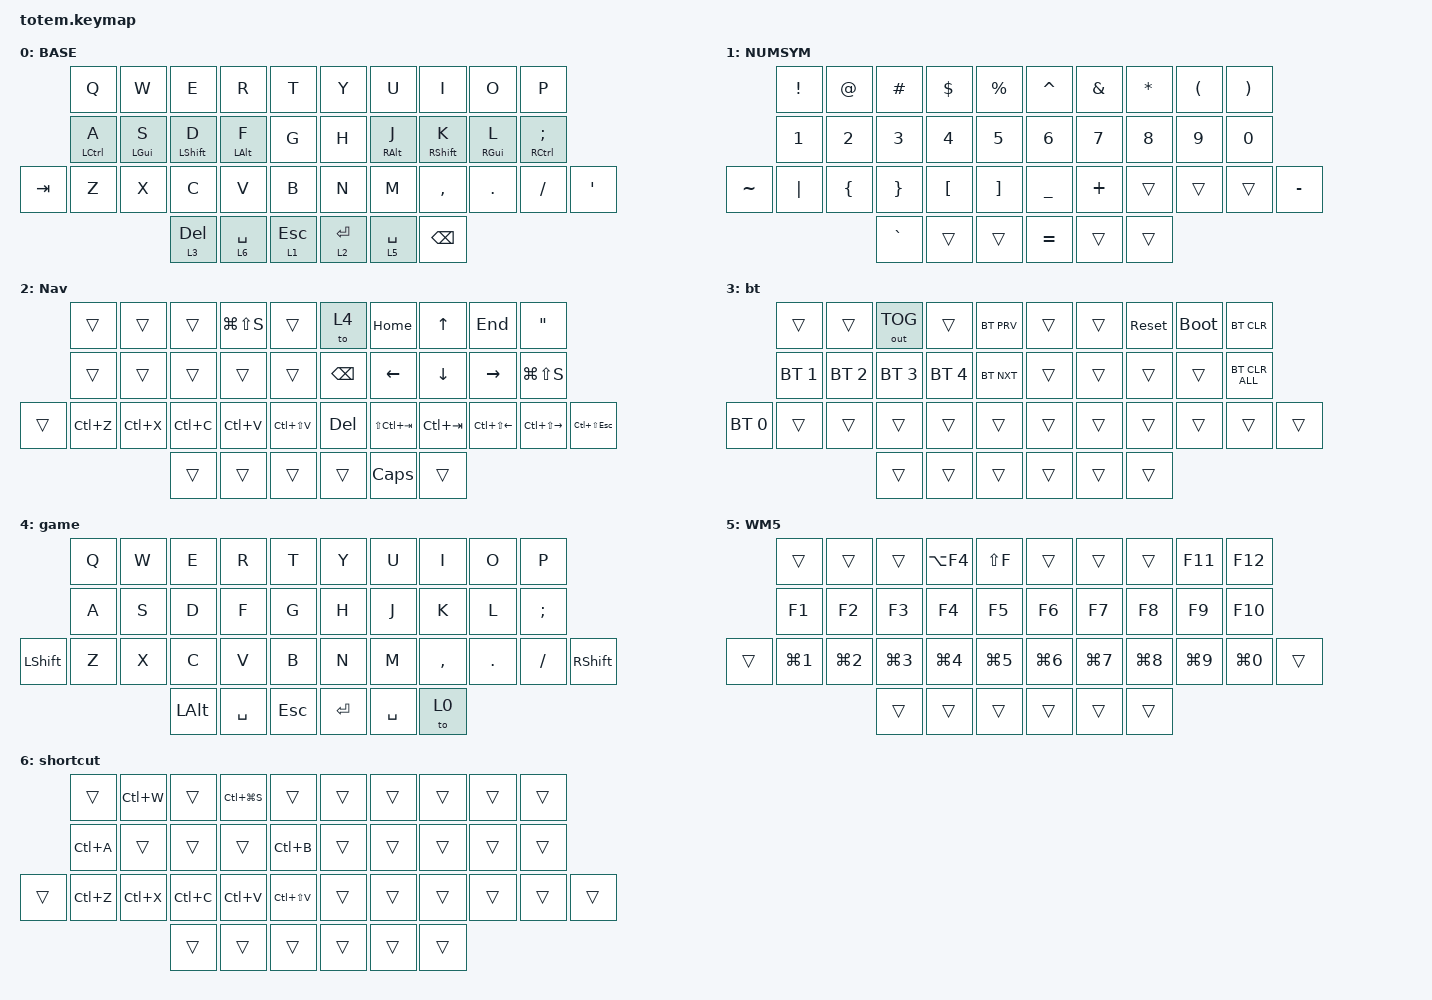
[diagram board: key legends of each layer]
//
//                                                        ▀▀▀▀▀     ▀▀▀▀▀          ▀▀█▀▀
//                                                        ▄▀▀▀▄  ▄  ▄▀▀▀▄  ▄  ▄▀▀▀▄  █  ▄▀▀▀▄
//                                                        █   █  █  █   █  █  █   █  █  █   █
//                                                         ▀▀▀   █   ▀▀▀   █   ▀▀▀   ▀   ▀▀▀
//                                                               █      ▄▄▄█▄▄▄    █   █  
//                                                               ▀      █  █  █     █▄█
//                                                             ▀▀▀▀▀    █  █  █      ▀
//                                                                      ▀  ▀  ▀
//
// ▄▄▄▄▄▄▄▄▄▄▄▄▄▄▄▄▄▄▄▄▄▄▄▄▄▄▄▄▄▄▄▄▄▄▄▄▄▄▄▄▄▄▄▄▄▄▄▄▄▄▄▄▄▄▄▄▄▄▄▄▄▄▄▄▄▄▄▄▄▄▄▄▄▄▄▄▄▄▄▄▄▄▄▄▄▄▄▄▄▄▄▄▄▄▄▄▄▄▄▄▄▄▄▄▄▄▄▄▄▄▄▄▄▄▄▄▄▄▄▄▄▄▄▄▄▄▄▄▄▄▄▄▄▄▄▄▄▄▄▄▄▄▄▄▄▄▄▄▄

#include <behaviors.dtsi>
#include <dt-bindings/zmk/bt.h>
#include <dt-bindings/zmk/keys.h>
#include <dt-bindings/zmk/outputs.h>

#define BASE 0
#define NAV  1
#define SYM  2
#define ADJ  3
#define TVP1 4
#define TVP2 5

&mt {
    quick-tap-ms = <100>;
    global-quick-tap;
    flavor = "tap-preferred";
    tapping-term-ms = <170>;
};

/ {
    combos {
        compatible = "zmk,combos";

        combo_esc {
            timeout-ms = <50>;
            key-positions = <0 1>;
            bindings = <&kp ESC>;
        };

        combo_tvp {
            timeout-ms = <100>;
            key-positions = <11 12 13>;
            bindings = <&kp CAPSLOCK>;
        };

        Backspace {
            bindings = <&kp BACKSPACE>;
            key-positions = <23 24>;
        };
    };

    macros {
        gif: gif {
            label = "giphy";
            compatible = "zmk,behavior-macro";
            #binding-cells = <0>;
            bindings =
                <&macro_press>,
                <&kp LSHFT>,
                <&macro_tap>,
                <&kp N2>,
                <&macro_release>,
                <&kp LSHFT>,
                <&macro_tap>,
                <&kp G &kp I &kp F>;
        };
    };

    behaviors {
        HML: HML {
            compatible = "zmk,behavior-hold-tap";
            label = "HML";
            bindings = <&kp>, <&kp>;

            #binding-cells = <2>;
            tapping-term-ms = <280>;
            quick-tap-ms = <175>;
            flavor = "tap-preferred";
            hold-trigger-key-positions = <32 34 33 35 36 37 26 27 28 29 30 5 6 7 8 9 15 16 17 18 19 26 27 28 29 30 31 36 37>;
            hold-trigger-on-release;
        };

        HMR: HMR {
            compatible = "zmk,behavior-hold-tap";
            label = "HMR";
            bindings = <&kp>, <&kp>;

            #binding-cells = <2>;
            tapping-term-ms = <280>;
            quick-tap-ms = <175>;
            flavor = "tap-preferred";
            hold-trigger-key-positions = <24 0 1 2 3 4 10 11 12 13 14 20 21 22 23 24 25 32 33 34 35 36 37>;
            hold-trigger-on-release;
        };
    };

    keymap {
        compatible = "zmk,keymap";

        // ▄▄▄▄▄▄▄▄▄▄▄▄▄▄▄▄▄▄▄▄▄▄▄▄▄▄▄▄▄▄▄▄▄▄▄▄▄▄▄▄▄▄▄▄▄▄▄▄▄▄▄▄▄▄▄▄▄▄▄▄▄▄▄▄▄▄▄▄▄▄▄▄▄▄▄▄▄▄▄▄▄▄▄▄▄▄▄▄▄▄▄▄▄▄▄▄▄▄▄▄▄▄▄▄▄▄▄▄▄▄▄▄▄▄▄▄▄▄▄▄▄▄▄▄▄▄▄▄▄▄▄▄▄▄▄▄▄▄▄▄▄▄▄▄▄▄▄▄▄

        base_layer {
            // ┏━━━━━━━━━━━━━━━━━━━━━━━━━━━━━━━━━━━━━━━┓

            label = "BASE";

            // ┗━━━━━━━━━━━━━━━━━━━━━━━━━━━━━━━━━━━━━━━┛
            //             ┏━━━━━━━━━━━┳━━━━━━━━━━━┳━━━━━━━━━━━┳━━━━━━━━━━━┳━━━━━━━━━━━┓   ┏━━━━━━━━━━━┳━━━━━━━━━━━┳━━━━━━━━━━━┳━━━━━━━━━━━┳━━━━━━━━━━━┓
            //             ┃     Q     ┃     W     ┃     F     ┃     P     ┃     G     ┃   ┃     J     ┃     L     ┃     U     ┃     Y     ┃     ;     ┃
            //             ┣━━━━━━━━━━━╋━━━━━━━━━━━╋━━━━━━━━━━━╋━━━━━━━━━━━╋━━━━━━━━━━━┫   ┣━━━━━━━━━━━╋━━━━━━━━━━━╋━━━━━━━━━━━╋━━━━━━━━━━━╋━━━━━━━━━━━┫
            //             ┃     A     ┃     R     ┃     S     ┃     T     ┃     D     ┃   ┃     H     ┃     N     ┃     E     ┃     I     ┃     O     ┃
            // ┏━━━━━━━━━━━╋━━━━━━━━━━━╋━━━━━━━━━━━╋━━━━━━━━━━━╋━━━━━━━━━━━╋━━━━━━━━━━━┫   ┣━━━━━━━━━━━╋━━━━━━━━━━━╋━━━━━━━━━━━╋━━━━━━━━━━━╋━━━━━━━━━━━╋━━━━━━━━━━━┓
            // ┃     Q     ┃     Z     ┃     X     ┃     C     ┃     V     ┃     B     ┃   ┃     K     ┃     M     ┃     ,     ┃     .     ┃     /     ┃     \     ┃
            // ┗━━━━━━━━━━━┻━━━━━━━━━━━┻━━━━━━━━━━━╋━━━━━━━━━━━╋━━━━━━━━━━━╋━━━━━━━━━━━┫   ┣━━━━━━━━━━━╋━━━━━━━━━━━╋━━━━━━━━━━━╋━━━━━━━━━━━┻━━━━━━━━━━━┻━━━━━━━━━━━┛
            //                                     ┃    DEL    ┃    TAB    ┃    SPC    ┃   ┃   ENTER   ┃           ┃   BSPC    ┃
            //                                     ┗━━━━━━━━━━━┻━━━━━━━━━━━┻━━━━━━━━━━━┛   ┗━━━━━━━━━━━┻━━━━━━━━━━━┻━━━━━━━━━━━┛

            bindings = <
         &kp Q                &kp W            &kp E              &kp R            &kp T           &kp Y        &kp U             &kp I               &kp O             &kp P
         &HML LEFT_CONTROL A  &HML LEFT_GUI S  &HML LEFT_SHIFT D  &HML LEFT_ALT F  &kp G           &kp H        &HMR RIGHT_ALT J  &HMR RIGHT_SHIFT K  &HMR RIGHT_GUI L  &HMR RIGHT_CONTROL SEMICOLON
&kp TAB  &kp Z                &kp X            &kp C              &kp V            &kp B           &kp N        &kp M             &kp COMMA           &kp DOT           &kp FSLH                      &kp SQT
                                               &lt 3 DELETE       &lt 6 SPACE      &lt 1 ESCAPE    &lt 2 ENTER  &lt 5 SPACE       &kp BSPC
            >;
        };

        // ▄▄▄▄▄▄▄▄▄▄▄▄▄▄▄▄▄▄▄▄▄▄▄▄▄▄▄▄▄▄▄▄▄▄▄▄▄▄▄▄▄▄▄▄▄▄▄▄▄▄▄▄▄▄▄▄▄▄▄▄▄▄▄▄▄▄▄▄▄▄▄▄▄▄▄▄▄▄▄▄▄▄▄▄▄▄▄▄▄▄▄▄▄▄▄▄▄▄▄▄▄▄▄▄▄▄▄▄▄▄▄▄▄▄▄▄▄▄▄▄▄▄▄▄▄▄▄▄▄▄▄▄▄▄▄▄▄▄▄▄▄▄▄▄▄▄▄▄▄

        NUMSYM {
            // ┏━━━━━━━━━━━━━━━━━━━━━━━━━━━━━━━━━━━━━━━┓

            label = "NUMSYM";

            // ┗━━━━━━━━━━━━━━━━━━━━━━━━━━━━━━━━━━━━━━━┛
            //             ┏━━━━━━━━━━━┳━━━━━━━━━━━┳━━━━━━━━━━━┳━━━━━━━━━━━┳━━━━━━━━━━━┓   ┏━━━━━━━━━━━┳━━━━━━━━━━━┳━━━━━━━━━━━┳━━━━━━━━━━━┳━━━━━━━━━━━┓
            //             ┃           ┃           ┃     UP    ┃           ┃     {     ┃   ┃     }     ┃     7     ┃     8     ┃     9     ┃     +     ┃
            //             ┣━━━━━━━━━━━╋━━━━━━━━━━━╋━━━━━━━━━━━╋━━━━━━━━━━━╋━━━━━━━━━━━┫   ┣━━━━━━━━━━━╋━━━━━━━━━━━╋━━━━━━━━━━━╋━━━━━━━━━━━╋━━━━━━━━━━━┫
            //             ┃   SHIFT   ┃   LEFT    ┃    DOWN   ┃   RIGHT   ┃     [     ┃   ┃     ]     ┃     4     ┃     5     ┃     6     ┃     -     ┃
            // ┏━━━━━━━━━━━╋━━━━━━━━━━━╋━━━━━━━━━━━╋━━━━━━━━━━━╋━━━━━━━━━━━╋━━━━━━━━━━━┫   ┣━━━━━━━━━━━╋━━━━━━━━━━━╋━━━━━━━━━━━╋━━━━━━━━━━━╋━━━━━━━━━━━╋━━━━━━━━━━━┓
            // ┃           ┃           ┃   P UP    ┃  C LOCK   ┃  P DOWN   ┃     (     ┃   ┃     )     ┃     1     ┃     2     ┃     3     ┃     *     ┃           ┃
            // ┗━━━━━━━━━━━┻━━━━━━━━━━━┻━━━━━━━━━━━╋━━━━━━━━━━━╋━━━━━━━━━━━╋━━━━━━━━━━━┫   ┣━━━━━━━━━━━╋━━━━━━━━━━━╋━━━━━━━━━━━╋━━━━━━━━━━━┻━━━━━━━━━━━┻━━━━━━━━━━━┛
            //                                     ┃           ┃    TAB    ┃    SPC    ┃   ┃    DEL    ┃     0     ┃           ┃
            //                                     ┗━━━━━━━━━━━┻━━━━━━━━━━━┻━━━━━━━━━━━┛   ┗━━━━━━━━━━━┻━━━━━━━━━━━┻━━━━━━━━━━━┛

            bindings = <
           &kp EXCL  &kp AT          &kp HASH         &kp DOLLAR        &kp PERCENT          &kp CARET       &kp AMPERSAND  &kp ASTERISK  &kp LEFT_PARENTHESIS  &kp RIGHT_PARENTHESIS
           &kp N1    &kp N2          &kp N3           &kp N4            &kp N5               &kp N6          &kp N7         &kp N8        &kp N9                &kp N0
&kp TILDE  &kp PIPE  &kp LEFT_BRACE  &kp RIGHT_BRACE  &kp LEFT_BRACKET  &kp RIGHT_BRACKET    &kp UNDERSCORE  &kp PLUS       &trans        &trans                &trans                 &kp MINUS
                                     &kp GRAVE        &trans            &trans               &kp EQUAL       &trans         &trans
            >;
        };

        // ▄▄▄▄▄▄▄▄▄▄▄▄▄▄▄▄▄▄▄▄▄▄▄▄▄▄▄▄▄▄▄▄▄▄▄▄▄▄▄▄▄▄▄▄▄▄▄▄▄▄▄▄▄▄▄▄▄▄▄▄▄▄▄▄▄▄▄▄▄▄▄▄▄▄▄▄▄▄▄▄▄▄▄▄▄▄▄▄▄▄▄▄▄▄▄▄▄▄▄▄▄▄▄▄▄▄▄▄▄▄▄▄▄▄▄▄▄▄▄▄▄▄▄▄▄▄▄▄▄▄▄▄▄▄▄▄▄▄▄▄▄▄▄▄▄▄▄▄▄

        Nav {
            // ┏━━━━━━━━━━━━━━━━━━━━━━━━━━━━━━━━━━━━━━━┓

            label = "Nav";

            // ┗━━━━━━━━━━━━━━━━━━━━━━━━━━━━━━━━━━━━━━━┛
            //             ┏━━━━━━━━━━━┳━━━━━━━━━━━┳━━━━━━━━━━━┳━━━━━━━━━━━┳━━━━━━━━━━━┓   ┏━━━━━━━━━━━┳━━━━━━━━━━━┳━━━━━━━━━━━┳━━━━━━━━━━━┳━━━━━━━━━━━┓
            //             ┃     !     ┃     @     ┃     #     ┃     $     ┃     %     ┃   ┃     ˆ     ┃     &     ┃     Ü     ┃     '     ┃     "     ┃
            //             ┣━━━━━━━━━━━╋━━━━━━━━━━━╋━━━━━━━━━━━╋━━━━━━━━━━━╋━━━━━━━━━━━┫   ┣━━━━━━━━━━━╋━━━━━━━━━━━╋━━━━━━━━━━━╋━━━━━━━━━━━╋━━━━━━━━━━━┫
            //             ┃     Ä     ┃           ┃    SZ     ┃           ┃           ┃   ┃   MUTE    ┃   YEN     ┃   EURO    ┃  POUND    ┃     Ö     ┃
            // ┏━━━━━━━━━━━╋━━━━━━━━━━━╋━━━━━━━━━━━╋━━━━━━━━━━━╋━━━━━━━━━━━╋━━━━━━━━━━━┫   ┣━━━━━━━━━━━╋━━━━━━━━━━━╋━━━━━━━━━━━╋━━━━━━━━━━━╋━━━━━━━━━━━╋━━━━━━━━━━━┓
            // ┃           ┃  EMAIL1   ┃  EMAIL2   ┃           ┃           ┃           ┃   ┃   VOL-    ┃   VOL+    ┃   LAST    ┃   NEXT    ┃     \     ┃           ┃
            // ┗━━━━━━━━━━━┻━━━━━━━━━━━┻━━━━━━━━━━━╋━━━━━━━━━━━╋━━━━━━━━━━━╋━━━━━━━━━━━┫   ┣━━━━━━━━━━━╋━━━━━━━━━━━╋━━━━━━━━━━━╋━━━━━━━━━━━┻━━━━━━━━━━━┻━━━━━━━━━━━┛
            //                                     ┃           ┃    GIF    ┃    ADJ    ┃   ┃           ┃           ┃           ┃
            //                                     ┗━━━━━━━━━━━┻━━━━━━━━━━━┻━━━━━━━━━━━┛   ┗━━━━━━━━━━━┻━━━━━━━━━━━┻━━━━━━━━━━━┛

            bindings = <
        &trans     &trans     &trans     &kp LG(LS(S))  &trans           &to 4          &kp HOME         &kp UP_ARROW  &kp END           &kp DQT
        &trans     &trans     &trans     &trans         &trans           &kp BACKSPACE  &kp LEFT         &kp DOWN      &kp RIGHT         &kp LG(LS(S))
&trans  &kp LC(Z)  &kp LC(X)  &kp LC(C)  &kp LC(V)      &kp LC(LS(V))    &kp DEL        &kp LS(LC(TAB))  &kp LC(TAB)   &kp LC(LS(LEFT))  &kp LC(LS(RIGHT))  &kp LC(LS(ESCAPE))
                              &trans     &trans         &trans           &trans         &kp CAPSLOCK     &trans
            >;
        };

        // ▄▄▄▄▄▄▄▄▄▄▄▄▄▄▄▄▄▄▄▄▄▄▄▄▄▄▄▄▄▄▄▄▄▄▄▄▄▄▄▄▄▄▄▄▄▄▄▄▄▄▄▄▄▄▄▄▄▄▄▄▄▄▄▄▄▄▄▄▄▄▄▄▄▄▄▄▄▄▄▄▄▄▄▄▄▄▄▄▄▄▄▄▄▄▄▄▄▄▄▄▄▄▄▄▄▄▄▄▄▄▄▄▄▄▄▄▄▄▄▄▄▄▄▄▄▄▄▄▄▄▄▄▄▄▄▄▄▄▄▄▄▄▄▄▄▄▄▄▄

        bluetooth {
            // ┏━━━━━━━━━━━━━━━━━━━━━━━━━━━━━━━━━━━━━━━┓

            label = "bt";

            // ┗━━━━━━━━━━━━━━━━━━━━━━━━━━━━━━━━━━━━━━━┛
            //             ┏━━━━━━━━━━━┳━━━━━━━━━━━┳━━━━━━━━━━━┳━━━━━━━━━━━┳━━━━━━━━━━━┓   ┏━━━━━━━━━━━┳━━━━━━━━━━━┳━━━━━━━━━━━┳━━━━━━━━━━━┳━━━━━━━━━━━┓
            //             ┃   RESET   ┃ BT CLEAR  ┃  OUT TOG  ┃           ┃           ┃   ┃           ┃    F7     ┃    F8     ┃    F9     ┃    F12    ┃
            //             ┣━━━━━━━━━━━╋━━━━━━━━━━━╋━━━━━━━━━━━╋━━━━━━━━━━━╋━━━━━━━━━━━┫   ┣━━━━━━━━━━━╋━━━━━━━━━━━╋━━━━━━━━━━━╋━━━━━━━━━━━╋━━━━━━━━━━━┫
            //             ┃ BOOTLOAD  ┃ BT NEXT   ┃           ┃           ┃           ┃   ┃           ┃    F4     ┃    F5     ┃    F6     ┃    F11    ┃
            // ┏━━━━━━━━━━━╋━━━━━━━━━━━╋━━━━━━━━━━━╋━━━━━━━━━━━╋━━━━━━━━━━━╋━━━━━━━━━━━┫   ┣━━━━━━━━━━━╋━━━━━━━━━━━╋━━━━━━━━━━━╋━━━━━━━━━━━╋━━━━━━━━━━━╋━━━━━━━━━━━┓
            // ┃           ┃           ┃ BT PREV   ┃           ┃           ┃           ┃   ┃           ┃    F1     ┃    F2     ┃    F3     ┃    F10    ┃           ┃
            // ┗━━━━━━━━━━━┻━━━━━━━━━━━┻━━━━━━━━━━━╋━━━━━━━━━━━╋━━━━━━━━━━━╋━━━━━━━━━━━┫   ┣━━━━━━━━━━━╋━━━━━━━━━━━╋━━━━━━━━━━━╋━━━━━━━━━━━┻━━━━━━━━━━━┻━━━━━━━━━━━┛
            //                                     ┃           ┃           ┃           ┃   ┃           ┃           ┃           ┃
            //                                     ┗━━━━━━━━━━━┻━━━━━━━━━━━┻━━━━━━━━━━━┛   ┗━━━━━━━━━━━┻━━━━━━━━━━━┻━━━━━━━━━━━┛

            bindings = <
              &trans        &trans        &out OUT_TOG  &trans        &bt BT_PRV    &trans  &trans  &sys_reset  &bootloader  &bt BT_CLR
              &bt BT_SEL 1  &bt BT_SEL 2  &bt BT_SEL 3  &bt BT_SEL 4  &bt BT_NXT    &trans  &trans  &trans      &trans       &bt BT_CLR_ALL
&bt BT_SEL 0  &trans        &trans        &trans        &trans        &trans        &trans  &trans  &trans      &trans       &trans          &trans
                                          &trans        &trans        &trans        &trans  &trans  &trans
            >;
        };

        // ▄▄▄▄▄▄▄▄▄▄▄▄▄▄▄▄▄▄▄▄▄▄▄▄▄▄▄▄▄▄▄▄▄▄▄▄▄▄▄▄▄▄▄▄▄▄▄▄▄▄▄▄▄▄▄▄▄▄▄▄▄▄▄▄▄▄▄▄▄▄▄▄▄▄▄▄▄▄▄▄▄▄▄▄▄▄▄▄▄▄▄▄▄▄▄▄▄▄▄▄▄▄▄▄▄▄▄▄▄▄▄▄▄▄▄▄▄▄▄▄▄▄▄▄▄▄▄▄▄▄▄▄▄▄▄▄▄▄▄▄▄▄▄▄▄▄▄▄▄

        Gaming {
            // ┏━━━━━━━━━━━━━━━━━━━━━━━━━━━━━━━━━━━━━━━┓

            label = "game";

            // ┗━━━━━━━━━━━━━━━━━━━━━━━━━━━━━━━━━━━━━━━┛
            //             ┏━━━━━━━━━━━┳━━━━━━━━━━━┳━━━━━━━━━━━┳━━━━━━━━━━━┳━━━━━━━━━━━┓   ┏━━━━━━━━━━━┳━━━━━━━━━━━┳━━━━━━━━━━━┳━━━━━━━━━━━┳━━━━━━━━━━━┓
            //             ┃ NEXT FILE ┃ MARK IN   ┃ ROTATE    ┃ MARK OUT  ┃ SHOW SNAP ┃   ┃           ┃           ┃           ┃           ┃           ┃
            //             ┣━━━━━━━━━━━╋━━━━━━━━━━━╋━━━━━━━━━━━╋━━━━━━━━━━━╋━━━━━━━━━━━┫   ┣━━━━━━━━━━━╋━━━━━━━━━━━╋━━━━━━━━━━━╋━━━━━━━━━━━╋━━━━━━━━━━━┫
            //             ┃ TVP II    ┃ LEFT      ┃ PAN       ┃ RIGHT     ┃ PLAY/FLIP ┃   ┃           ┃           ┃           ┃           ┃           ┃
            // ┏━━━━━━━━━━━╋━━━━━━━━━━━╋━━━━━━━━━━━╋━━━━━━━━━━━╋━━━━━━━━━━━╋━━━━━━━━━━━┫   ┣━━━━━━━━━━━╋━━━━━━━━━━━╋━━━━━━━━━━━╋━━━━━━━━━━━╋━━━━━━━━━━━╋━━━━━━━━━━━┓
            // ┃ FULLSCR   ┃ SHIFT     ┃ COPY      ┃ DELETE    ┃ PASTE     ┃ IMG MARK  ┃   ┃           ┃           ┃           ┃           ┃           ┃           ┃
            // ┗━━━━━━━━━━━┻━━━━━━━━━━━┻━━━━━━━━━━━╋━━━━━━━━━━━╋━━━━━━━━━━━╋━━━━━━━━━━━┫   ┣━━━━━━━━━━━╋━━━━━━━━━━━╋━━━━━━━━━━━╋━━━━━━━━━━━┻━━━━━━━━━━━┻━━━━━━━━━━━┛
            //                                     ┃           ┃ UNDO/SAVE ┃  SEL/MOV  ┃   ┃           ┃           ┃           ┃
            //                                     ┗━━━━━━━━━━━┻━━━━━━━━━━━┻━━━━━━━━━━━┛   ┗━━━━━━━━━━━┻━━━━━━━━━━━┻━━━━━━━━━━━┛

            bindings = <
           &kp Q  &kp W  &kp E     &kp R      &kp T      &kp Y    &kp U      &kp I      &kp O    &kp P
           &kp A  &kp S  &kp D     &kp F      &kp G      &kp H    &kp J      &kp K      &kp L    &kp SEMI
&kp LSHFT  &kp Z  &kp X  &kp C     &kp V      &kp B      &kp N    &kp M      &kp COMMA  &kp DOT  &kp FSLH  &kp RSHFT
                         &kp LALT  &kp SPACE  &kp ESC    &kp RET  &kp SPACE  &to 0
            >;
        };

        // ▄▄▄▄▄▄▄▄▄▄▄▄▄▄▄▄▄▄▄▄▄▄▄▄▄▄▄▄▄▄▄▄▄▄▄▄▄▄▄▄▄▄▄▄▄▄▄▄▄▄▄▄▄▄▄▄▄▄▄▄▄▄▄▄▄▄▄▄▄▄▄▄▄▄▄▄▄▄▄▄▄▄▄▄▄▄▄▄▄▄▄▄▄▄▄▄▄▄▄▄▄▄▄▄▄▄▄▄▄▄▄▄▄▄▄▄▄▄▄▄▄▄▄▄▄▄▄▄▄▄▄▄▄▄▄▄▄▄▄▄▄▄▄▄▄▄▄▄▄

        WM5 {
            // ┏━━━━━━━━━━━━━━━━━━━━━━━━━━━━━━━━━━━━━━━┓

            label = "WM5";

            // ┗━━━━━━━━━━━━━━━━━━━━━━━━━━━━━━━━━━━━━━━┛
            //             ┏━━━━━━━━━━━┳━━━━━━━━━━━┳━━━━━━━━━━━┳━━━━━━━━━━━┳━━━━━━━━━━━┓   ┏━━━━━━━━━━━┳━━━━━━━━━━━┳━━━━━━━━━━━┳━━━━━━━━━━━┳━━━━━━━━━━━┓
            //             ┃ SOLO      ┃ TOGGLE IN ┃ RESET ROT ┃ TOGGLE OUT┃ TAKE SNAP ┃   ┃           ┃           ┃           ┃           ┃           ┃
            //             ┣━━━━━━━━━━━╋━━━━━━━━━━━╋━━━━━━━━━━━╋━━━━━━━━━━━╋━━━━━━━━━━━┫   ┣━━━━━━━━━━━╋━━━━━━━━━━━╋━━━━━━━━━━━╋━━━━━━━━━━━╋━━━━━━━━━━━┫
            //             ┃ ---       ┃ LAST KEY  ┃ NEW KEY   ┃ NEXT KEY  ┃ ENTER     ┃   ┃           ┃           ┃           ┃           ┃           ┃
            // ┏━━━━━━━━━━━╋━━━━━━━━━━━╋━━━━━━━━━━━╋━━━━━━━━━━━╋━━━━━━━━━━━╋━━━━━━━━━━━┫   ┣━━━━━━━━━━━╋━━━━━━━━━━━╋━━━━━━━━━━━╋━━━━━━━━━━━╋━━━━━━━━━━━╋━━━━━━━━━━━┓
            // ┃           ┃ FULLSCR   ┃ CPY2BRUSH ┃ DEL HEAD  ┃ PSTinPLACE┃ BOOK MARK ┃   ┃           ┃           ┃           ┃           ┃           ┃           ┃
            // ┗━━━━━━━━━━━┻━━━━━━━━━━━┻━━━━━━━━━━━╋━━━━━━━━━━━╋━━━━━━━━━━━╋━━━━━━━━━━━┫   ┣━━━━━━━━━━━╋━━━━━━━━━━━╋━━━━━━━━━━━╋━━━━━━━━━━━┻━━━━━━━━━━━┻━━━━━━━━━━━┛
            //                                     ┃           ┃ REDO/SAV1 ┃TRANS/WARP ┃   ┃           ┃           ┃           ┃
            //                                     ┗━━━━━━━━━━━┻━━━━━━━━━━━┻━━━━━━━━━━━┛   ┗━━━━━━━━━━━┻━━━━━━━━━━━┻━━━━━━━━━━━┛

            bindings = <
        &trans            &trans            &trans            &kp LA(F4)  &kp LS(F)     &trans      &trans      &trans      &kp F11     &kp F12
        &kp F1            &kp F2            &kp F3            &kp F4      &kp F5        &kp F6      &kp F7      &kp F8      &kp F9      &kp F10
&trans  &kp LG(NUMBER_1)  &kp LG(NUMBER_2)  &kp LG(NUMBER_3)  &kp LG(N4)  &kp LG(N5)    &kp LG(N6)  &kp LG(N7)  &kp LG(N8)  &kp LG(N9)  &kp LG(N0)  &trans
                                            &trans            &trans      &trans        &trans      &trans      &trans
            >;
        };

        shortcut {
            bindings = <
        &trans     &kp LC(W)  &trans     &kp LC(LG(S))  &trans           &trans  &trans  &trans  &trans  &trans
        &kp LC(A)  &trans     &trans     &trans         &kp LC(B)        &trans  &trans  &trans  &trans  &trans
&trans  &kp LC(Z)  &kp LC(X)  &kp LC(C)  &kp LC(V)      &kp LC(LS(V))    &trans  &trans  &trans  &trans  &trans  &trans
                              &trans     &trans         &trans           &trans  &trans  &trans
            >;

            label = "shortcut";
        };
    };
};
